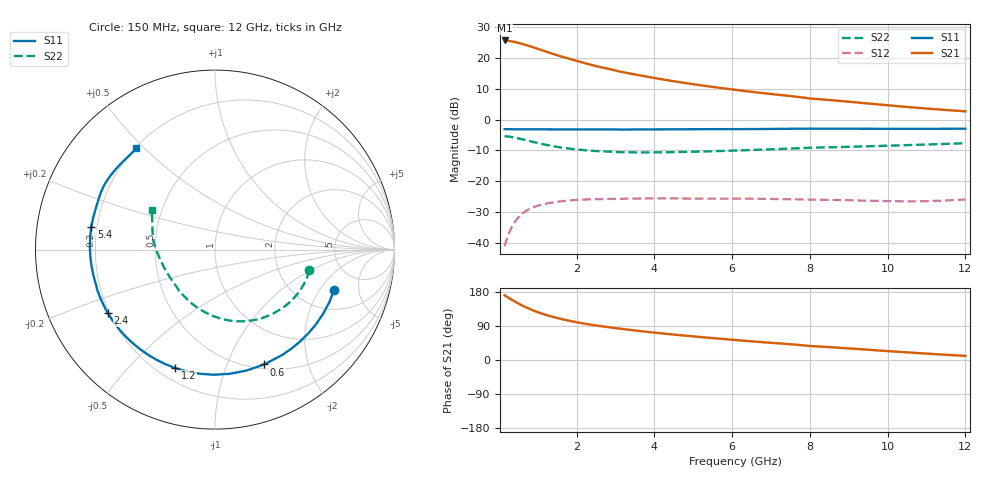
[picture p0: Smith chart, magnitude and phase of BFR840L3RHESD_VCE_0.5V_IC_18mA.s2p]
! Infineon Technologies  Discrete & RF Semiconductors
! BFR840L3RHESD
! VCE =  0.5 V,  IC =  18 mA
! Common Emitter S-Parameters:  Jun 2012
# GHz  S  MA  R  50
!  f  S11  S21  S12  S22
! GHz  MAG  ANG  MAG  ANG  MAG  ANG  MAG  ANG
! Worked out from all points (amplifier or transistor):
!   91 points, 150 MHz to 12 GHz, reference 50 ohm
!   highest |S21| = 25.7 dB at 150 MHz (marker M1)
!   |S21| within 3 dB of that: start of sweep to 1.072 GHz
!   unconditionally stable (mu >= 1): start of sweep to 190 MHz; 4.264 GHz to end of sweep
!   at 1.3 GHz: K = 0.42, MSG = 24.4 dB, |S12| = -27.0 dB
!   at 4.3 GHz: K = 1.01, MAG = 18.6 dB, |S12| = -25.5 dB
!   at 12 GHz: K = 3.09, MAG = 6.5 dB, |S12| = -25.9 dB
!   S11 on the Smith chart (normalised r, x): 150 MHz: 3.08, -2.75; 600 MHz: 0.55, -1.37; 1.2 GHz: 0.27, -0.68; 2.4 GHz: 0.19, -0.26; 5.4 GHz: 0.18, +0.09; 12 GHz: 0.21, +0.47
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0.15  0.7008 -18.9  19.19 170.7  0.0089 57.1  0.5385 -12.3
0.25  0.7006 -30.8  18.92 164.2  0.0138 61.1  0.5315 -21.2
0.35  0.6986 -42.0  18.45 158.0  0.0189 59.7  0.5195 -29.5
0.5  0.6964 -57.4  17.55 149.3  0.0259 55.3  0.4968 -41.1
0.6  0.6961 -66.8  16.88 144.0  0.0299 52.0  0.4807 -48.3
0.7  0.6964 -75.4  16.18 139.0  0.0332 48.7  0.4644 -55.0
0.9  0.6971 -90.5  14.76 130.2  0.0383 42.6  0.4333 -67.1
1  0.697 -97.1  14.07 126.3  0.0403 39.9  0.4188 -72.6
1.2  0.6961 -108.6  12.76 119.4  0.0433 35.1  0.3927 -82.5
1.4  0.695 -118.2  11.59 113.5  0.0456 31.4  0.3711 -91.2
1.7  0.6942 -129.9  10.14 106.0  0.0482 27.2  0.3468 -102.3
1.9  0.6943 -136.4  9.331 101.7  0.0495 24.8  0.3347 -108.8
2.2  0.6943 -144.7  8.276 96.0  0.0507 21.6  0.3202 -117.4
2.4  0.6939 -149.5  7.659 92.7  0.0512 19.7  0.3128 -122.4
3  0.6935 -161.3  6.26 83.9  0.052 15.9  0.2989 -134.8
3.5  0.6924 -168.9  5.397 78.0  0.0526 14.5  0.2949 -143.3
4.2  0.6958 -177.8  4.503 70.1  0.0529 12.7  0.296 -153.1
5.4  0.7004 169.7  3.459 58.7  0.0525 10.6  0.3063 -166.8
6.1  0.7018 163.6  3.031 52.6  0.0525 9.7  0.3159 -173.4
8.5  0.714 145.9  2.081 34.0  0.0501 8.7  0.3561 166.9
10.5  0.7089 134.3  1.604 20.1  0.0473 14.6  0.3863 154.9
12  0.7137 127.8  1.363 10.8  0.0509 21.3  0.4148 148.0
